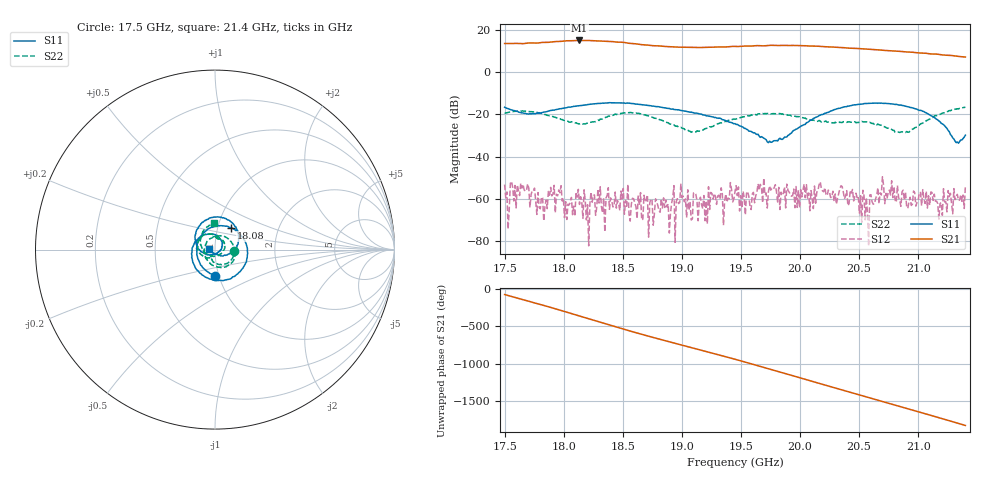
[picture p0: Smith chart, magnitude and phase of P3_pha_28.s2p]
!Created with skrf (http://scikit-rf.org).
# GHz S RI R 50.0
!freq ReS11 ImS11 ReS21 ImS21 ReS12 ImS12 ReS22 ImS22
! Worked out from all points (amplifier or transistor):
!   401 points, 17.5 GHz to 21.4 GHz, reference 50 ohm
!   highest |S21| = 14.9 dB at 18.13 GHz (marker M1)
!   |S21| within 3 dB of that: start of sweep to 18.92 GHz (the widest 1 of 2)
!   unconditionally stable (mu >= 1): start of sweep to end of sweep
!   at 18.14 GHz: K = 78.13, MAG = 15.0 dB, |S12| = -59.0 dB
!   at 19.45 GHz: K = 83.43, MAG = 12.1 dB, |S12| = -56.6 dB
!   at 21.4 GHz: K = 106.34, MAG = 7.1 dB, |S12| = -53.8 dB
!   S11 on the Smith chart (normalised r, x): 17.5 GHz: 0.96, -0.29; 18.08 GHz: 1.16, +0.29; 21.4 GHz: 0.94, +0.00
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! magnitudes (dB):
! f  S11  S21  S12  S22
! 17.5 GHz  -16.7  13.4  -53.2  -19.5
! 17.52 GHz  -17.2  13.4  -56.7  -19.2
! 17.66 GHz  -19.4  13.4  -53.1  -18.4
! 17.81 GHz  -19.3  13.9  -59.1  -19.7
! 17.96 GHz  -17.5  14.4  -55.8  -22.1
! 18.08 GHz  -16.4  14.7  -67.5  -23.7
! 18.13 GHz  -15.9  14.9  -62.6  -24.6
! 18.15 GHz  -15.9  14.8  -61.7  -24.4
! 18.2 GHz  -15.4  14.8  -62.8  -24.1
! 18.24 GHz  -15.2  14.8  -61.6  -23.7
! 18.81 GHz  -16.5  12.3  -65.6  -22.4
! 19.1 GHz  -19.3  11.6  -57.2  -28.3
! 19.45 GHz  -24.4  12.1  -56.6  -22.3
! 19.74 GHz  -32.7  12.6  -53.8  -19.6
! 20.1 GHz  -22.5  12.2  -59.7  -22.9
! 20.35 GHz  -17.0  11.5  -53.8  -23.9
! 20.56 GHz  -14.9  10.7  -59.4  -23.6
! 20.76 GHz  -15.0  10.1  -55.9  -27.0
! 21.13 GHz  -21.2  8.5  -60.7  -21.5
! 21.19 GHz  -23.5  8.2  -62.2  -20.0
! 21.32 GHz  -33.4  7.4  -59.6  -17.6
! 21.4 GHz  -29.9  7.0  -53.8  -16.7
